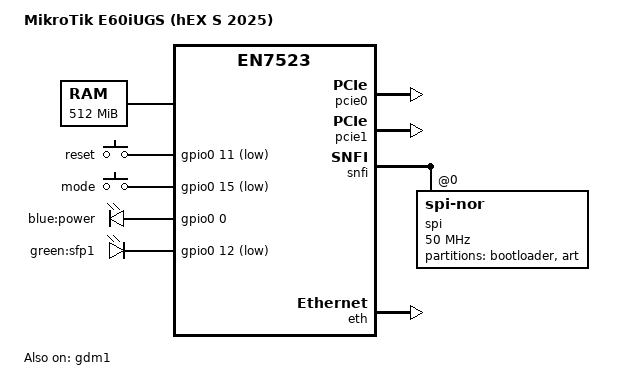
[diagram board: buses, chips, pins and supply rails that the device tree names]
// SPDX-License-Identifier: (GPL-2.0-only OR BSD-2-Clause)
/dts-v1/;

/* Bootloader installs ATF here */
/memreserve/ 0x80000000 0x200000;

#include <dt-bindings/input/linux-event-codes.h>
#include "en7523.dtsi"

/ {
	model = "MikroTik E60iUGS (hEX S 2025)";
	compatible = "mikrotik,e60iugs", "airoha,en7523";

	aliases {
		serial0 = &uart1;
	};

	chosen {
		bootargs = "console=ttyS0,115200 earlycon";
		stdout-path = "serial0:115200n8";
		linux,usable-memory-range = <0x80200000 0x1fe00000>;
	};

	memory@80000000 {
		device_type = "memory";
		reg = <0x80000000 0x20000000>;
	};

	keys {
		compatible = "gpio-keys-polled";
		poll-interval = <100>;

		reset {
			label = "reset";
			linux,code = <KEY_RESTART>;
			gpios = <&gpio0 11 GPIO_ACTIVE_LOW>;
			default-state = "off";
			debounce-interval = <60>;
		};

		mode {
			label = "mode";
			debounce-interval = <60>;
			gpios = <&gpio0 15 GPIO_ACTIVE_LOW>;
		};
	};

	leds {
		compatible = "gpio-leds";

		led@0 {
			gpios = <&gpio0 0 GPIO_ACTIVE_HIGH>;
			label = "blue:power";
			default-state = "off";
		};

		// sfp1
		led@12 {
			gpios = <&gpio0 12 GPIO_ACTIVE_LOW>;
			label = "green:sfp1";
			default-state = "off";
		};
	};
};

&gpio0 {
	status = "okay";
};

&gpio1 {
	status = "okay";
};

&pcie0 {
	status = "okay";
};

&pcie1 {
	status = "okay";
};

&snfi {
	status = "okay";

	spi@0 {
		compatible = "jedec,spi-nor";
		reg = <0>;
		spi-max-frequency = <50000000>;
		spi-tx-bus-width = <1>;
		spi-rx-bus-width = <2>;

		partitions {
			compatible = "fixed-partitions";
			#address-cells = <1>;
			#size-cells = <1>;

			partition@0 {
				label = "bootloader";
				reg = <0x000000 0x0f0000>;
			};

			partition@fa000 {
				label = "art";
				reg = <0x0f0000 0x010000>;
				read-only;
			};
		};
	};

};

&spi_nand {
	reg = <1>;

	partitions {
		compatible = "fixed-partitions";
		#address-cells = <1>;
		#size-cells = <1>;

		partition@0 {
			label = "ubi";
			reg = <0x0 0x8000000>;
		};
	};
};

&eth {
	status = "okay";
};

&gdm1 {
	status = "okay";
};
